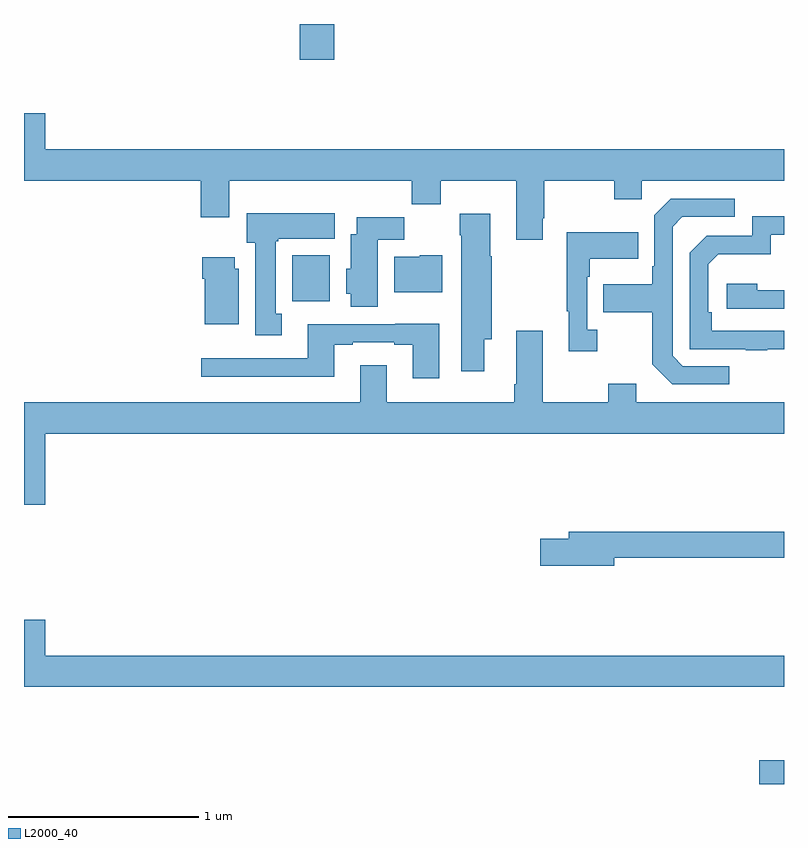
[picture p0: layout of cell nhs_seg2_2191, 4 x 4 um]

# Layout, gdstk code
import gdstk
lib = gdstk.Library(unit=1e-6, precision=1e-09)
def R(c, l, rs):  # rectangles x0, y0, x1, y1
    for r in rs: c.add(gdstk.rectangle(r[:2], r[2:], *l))
def P(c, l, *ps):  # polygons
    for p in ps: c.add(gdstk.Polygon(p, *l))
L2000_40 = (2000, 40)

nhs_seg2_2191 = lib.new_cell('nhs_seg2_2191')
R(nhs_seg2_2191, L2000_40, [(228.869,637.8,229,637.924), (226.412,640.34,226.609,640.582), (226.451,641.613,226.634,641.8)])
P(nhs_seg2_2191, L2000_40, [(227.731,640.777),(227.739,640.777),(227.739,640.976),(228.106,640.976),(228.106,640.877),(228.252,640.877),(228.252,640.976),(229,640.976),(229,641.14),(225.112,641.14),(225.112,641.329),(225,641.329),(225,640.976),(225.929,640.976),(225.929,640.782),(226.081,640.782),(226.081,640.976),(227.041,640.976),(227.041,640.852),(227.193,640.852),(227.193,640.976),(227.591,640.976),(227.591,640.665),(227.731,640.665)],
  [(228.712,639.999),(228.468,639.999),(228.414,640.053),(228.414,640.734),(228.465,640.785),(228.742,640.785),(228.742,640.881),(228.405,640.881),(228.318,640.794),(228.318,640.525),(228.306,640.525),(228.306,640.429),(228.049,640.429),(228.049,640.282),(228.306,640.282),(228.306,640.009),(228.411,639.903),(228.712,639.903)],
  [(226.357,640.274),(226.324,640.274),(226.324,640.657),(226.338,640.657),(226.338,640.67),(226.636,640.67),(226.636,640.804),(226.172,640.804),(226.172,640.65),(226.217,640.65),(226.217,640.161),(226.357,640.161)],
  [(227.422,640.142),(227.463,640.142),(227.463,640.577),(227.455,640.577),(227.455,640.801),(227.293,640.801),(227.293,640.688),(227.3,640.688),(227.3,639.972),(227.422,639.972)],
  [(228.911,640.089),(229,640.089),(229,640.185),(228.62,640.185),(228.62,640.282),(228.6,640.282),(228.6,640.536),(228.653,640.589),(228.93,640.589),(228.93,640.692),(229,640.692),(229,640.788),(228.834,640.788),(228.834,640.686),(228.594,640.686),(228.504,640.596),(228.504,640.089),(228.799,640.089),(228.799,640.084),(228.911,640.084)],
  [(226.861,640.664),(227,640.664),(227,640.783),(226.751,640.783),(226.751,640.693),(226.721,640.693),(226.721,640.512),(226.697,640.512),(226.697,640.38),(226.721,640.38),(226.721,640.313),(226.861,640.313)],
  [(228.016,640.19),(227.964,640.19),(227.964,640.469),(227.977,640.469),(227.977,640.565),(228.233,640.565),(228.233,640.705),(227.856,640.705),(227.856,640.289),(227.867,640.289),(227.867,640.077),(228.016,640.077)],
  [(227.2,640.582),(227.082,640.582),(227.082,640.576),(226.949,640.576),(226.949,640.388),(227.2,640.388)],
  [(226.129,640.512),(226.108,640.512),(226.108,640.573),(225.938,640.573),(225.938,640.46),(225.95,640.46),(225.95,640.22),(226.129,640.22)],
  [(229,640.398),(228.86,640.398),(228.86,640.432),(228.699,640.432),(228.699,640.302),(229,640.302)],
  [(227.185,640.222),(226.953,640.222),(226.953,640.221),(226.493,640.221),(226.493,640.041),(225.933,640.041),(225.933,639.944),(226.633,639.944),(226.633,640.113),(226.729,640.113),(226.729,640.125),(226.949,640.125),(226.949,640.113),(227.045,640.113),(227.045,639.936),(227.185,639.936)],
  [(225.112,639.644),(229,639.644),(229,639.808),(228.223,639.808),(228.223,639.907),(228.076,639.907),(228.076,639.808),(227.731,639.808),(227.731,640.186),(227.591,640.186),(227.591,639.904),(227.579,639.904),(227.579,639.808),(226.909,639.808),(226.909,640.003),(226.769,640.003),(226.769,639.808),(225,639.808),(225,639.27),(225.112,639.27)],
  [(228.106,638.992),(229,638.992),(229,639.128),(227.867,639.128),(227.867,639.092),(227.718,639.092),(227.718,638.95),(228.106,638.95)],
  [(229,638.476),(225.112,638.476),(225.112,638.665),(225,638.665),(225,638.312),(229,638.312)])

lib.write_gds('nhs_seg2_2191.gds')
